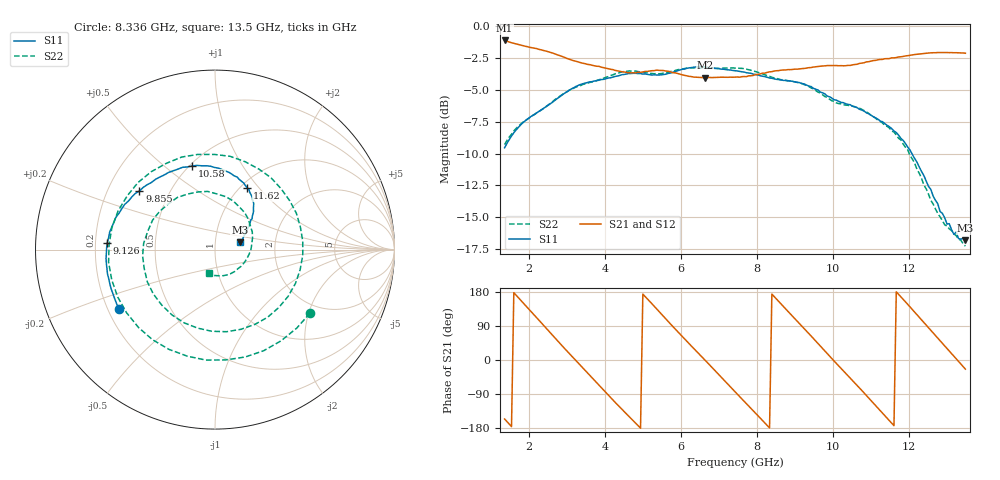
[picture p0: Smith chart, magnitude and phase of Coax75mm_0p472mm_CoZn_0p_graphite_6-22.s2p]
!Agilent Technologies,N5230C,MY48100320,A.08.04.10
!Agilent N5230C: A.08.04.10
!Date: Tuesday, August 23, 2016 04:17:50
!Correction: S11(Full 2 Port(1,2))
!S21(Full 2 Port(1,2))
!S12(Full 2 Port(1,2))
!S22(Full 2 Port(1,2))
!S2P File: Measurements: S11, S21, S12, S22:
# Hz S  dB  R 50
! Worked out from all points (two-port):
!   201 points, 1.35 GHz to 13.5 GHz, reference 50 ohm
!   highest |S21| = -1.10 dB at 1.35 GHz (marker M1); lowest = -4.0 dB at 6.635 GHz (marker M2)
!   |S21| within 3 dB of the highest: start of sweep to end of sweep
!   lowest |S11| = -16.8 dB at 13.5 GHz (marker M3), VSWR 1.34, Z = 65.8 + j5.61 ohm
!   |S11| at or under -10 dB: 12.09 GHz to end of sweep
!   |S22| runs from -17.3 to -3.2 dB; largest |S21 - S12| = 0.0033
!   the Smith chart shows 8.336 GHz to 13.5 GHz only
!   S11 on the Smith chart (normalised r, x): 8.336 GHz: 0.25, -0.27; 9.126 GHz: 0.25, +0.03; 9.855 GHz: 0.34, +0.31; 10.58 GHz: 0.52, +0.63; 11.62 GHz: 1.07, +0.87; 13.5 GHz: 1.32, +0.11
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1.35027e9  -9.54 -172.1  -1.10 -155.6  -1.11 -155.6  -9.29 23.5
2.322248e9  -6.55 135.6  -1.84 97.6  -1.85 97.6  -6.55 -137.9
2.808238e9  -5.52 108.8  -2.29 43.9  -2.31 43.9  -5.47 142.4
3.415724e9  -4.50 75.4  -2.89 -21.5  -2.92 -21.5  -4.55 47.1
3.840965e9  -4.22 56.6  -3.14 -66.9  -3.15 -66.8  -4.19 -24.2
4.266205e9  -3.93 40.6  -3.45 -111.9  -3.46 -111.9  -3.72 -96.9
4.812943e9  -3.68 17.4  -3.65 -167.5  -3.66 -167.4  -3.51 176.2
5.42043e9  -3.82 -11.7  -3.45 128.3  -3.46 128.4  -3.72 75.7
5.967167e9  -3.43 -39.7  -3.74 69.1  -3.75 69.1  -3.37 -13.8
6.635403e9  -3.19 -73.0  -4.02 -0.4  -4.03 -0.3  -3.28 -117.3
6.999894e9  -3.32 -88.7  -4.00 -38.9  -4.01 -38.8  -3.29 -177.7
7.425135e9  -3.48 -106.7  -3.98 -83.8  -3.98 -83.8  -3.27 112.1
7.971873e9  -3.78 -131.6  -3.78 -140.7  -3.78 -140.7  -3.55 25.4
8.336365e9  -4.05 -148.2  -3.57 -179.3  -3.57 -179.3  -3.92 -33.9
9.126097e9  -4.41 176.2  -3.33 95.8  -3.34 96.0  -4.44 -163.6
9.490589e9  -4.86 159.1  -3.19 56.9  -3.20 57.0  -4.90 139.0
9.855081e9  -5.47 142.2  -3.07 17.3  -3.09 17.4  -5.57 80.8
1.058406e10  -6.32 105.2  -2.99 -60.6  -2.99 -60.5  -6.31 -32.4
1.149529e10  -7.88 66.5  -2.52 -160.0  -2.54 -159.9  -7.98 174.9
1.161679e10  -8.22 62.4  -2.47 -173.2  -2.47 -173.1  -8.30 154.7
1.252802e10  -12.58 35.4  -2.09 85.3  -2.10 85.4  -13.19 17.3
1.35e10  -16.81 16.8  -2.10 -24.0  -2.11 -23.9  -17.27 -104.3
